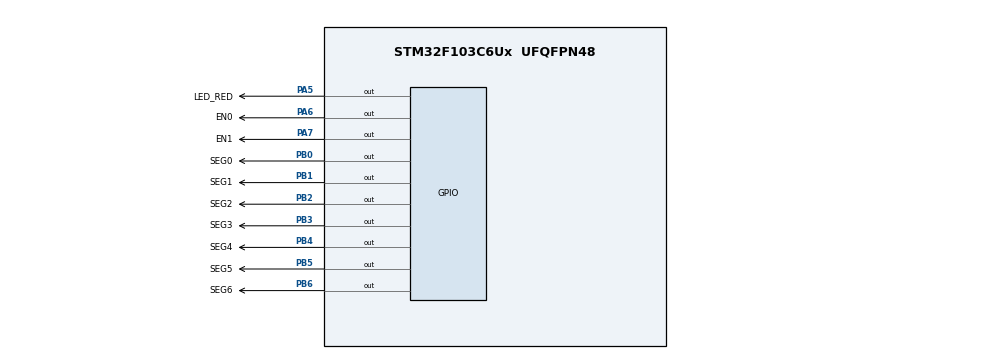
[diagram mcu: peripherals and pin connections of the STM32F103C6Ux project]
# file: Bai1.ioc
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Mcu.Family=STM32F1
Mcu.Name=STM32F103C6Ux
Mcu.Package=UFQFPN48
NVIC.PriorityGroup=NVIC_PRIORITYGROUP_4
NVIC.TIM2_IRQn=true\:0\:0\:false\:false\:true\:true\:true\:true
PA5.GPIO_Label=LED_RED
PA5.Signal=GPIO_Output
PA6.GPIO_Label=EN0
PA6.Signal=GPIO_Output
PA7.GPIO_Label=EN1
PA7.Signal=GPIO_Output
PB0.GPIO_Label=SEG0
PB0.Signal=GPIO_Output
PB1.GPIO_Label=SEG1
PB1.Signal=GPIO_Output
PB2.GPIO_Label=SEG2
PB2.Signal=GPIO_Output
PB3.GPIO_Label=SEG3
PB3.Signal=GPIO_Output
PB4.GPIO_Label=SEG4
PB4.Signal=GPIO_Output
PB5.GPIO_Label=SEG5
PB5.Signal=GPIO_Output
PB6.GPIO_Label=SEG6
PB6.Signal=GPIO_Output
ProjectManager.HeapSize=0x200
ProjectManager.StackSize=0x400
ProjectManager.TargetToolchain=STM32CubeIDE
RCC.APB1Freq_Value=8000000
RCC.APB2Freq_Value=8000000
TIM2.Period=9
TIM2.Prescaler=7999
VP_SYS_VS_ND.Mode=No_Debug
VP_TIM2_VS_ClockSourceINT.Mode=Internal
board=custom

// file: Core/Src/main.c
/* USER CODE BEGIN Header */
/**
 ******************************************************************************
 * @file           : main.c
 * @brief          : Main program body
 ******************************************************************************
 * @attention
 *
 * <h2><center>&copy; Copyright (c) 2022 STMicroelectronics.
 * All rights reserved.</center></h2>
 *
 * This software component is licensed by ST under BSD 3-Clause license,
 * the "License"; You may not use this file except in compliance with the
 * License. You may obtain a copy of the License at:
 *                        opensource.org/licenses/BSD-3-Clause
 *
 ******************************************************************************
 */
/* USER CODE END Header */
#include "main.h"

TIM_HandleTypeDef htim2;

void SystemClock_Config(void);
static void MX_GPIO_Init(void);
static void MX_TIM2_Init(void);

/* USER CODE BEGIN 0 */
void display7SEG(int num) {
	// num is the time displayed on the 7-segment led
	if (num == 0) {
		HAL_GPIO_WritePin(SEG0_GPIO_Port, SEG0_Pin, RESET);
		HAL_GPIO_WritePin(SEG1_GPIO_Port, SEG1_Pin, RESET);
		HAL_GPIO_WritePin(SEG2_GPIO_Port, SEG2_Pin, RESET);
		HAL_GPIO_WritePin(SEG3_GPIO_Port, SEG3_Pin, RESET);
		HAL_GPIO_WritePin(SEG4_GPIO_Port, SEG4_Pin, RESET);
		HAL_GPIO_WritePin(SEG5_GPIO_Port, SEG5_Pin, RESET);
		HAL_GPIO_WritePin(SEG6_GPIO_Port, SEG6_Pin, SET);
	}
	if (num == 1) {
		HAL_GPIO_WritePin(SEG0_GPIO_Port, SEG0_Pin, SET);
		HAL_GPIO_WritePin(SEG1_GPIO_Port, SEG1_Pin, RESET);
		HAL_GPIO_WritePin(SEG2_GPIO_Port, SEG2_Pin, RESET);
		HAL_GPIO_WritePin(SEG3_GPIO_Port, SEG3_Pin, SET);
		HAL_GPIO_WritePin(SEG4_GPIO_Port, SEG4_Pin, SET);
		HAL_GPIO_WritePin(SEG5_GPIO_Port, SEG5_Pin, SET);
		HAL_GPIO_WritePin(SEG6_GPIO_Port, SEG6_Pin, SET);
	}
	if (num == 2) {
		HAL_GPIO_WritePin(SEG0_GPIO_Port, SEG0_Pin, RESET);
		HAL_GPIO_WritePin(SEG1_GPIO_Port, SEG1_Pin, RESET);
		HAL_GPIO_WritePin(SEG2_GPIO_Port, SEG2_Pin, SET);
		HAL_GPIO_WritePin(SEG3_GPIO_Port, SEG3_Pin, RESET);
		HAL_GPIO_WritePin(SEG4_GPIO_Port, SEG4_Pin, RESET);
		HAL_GPIO_WritePin(SEG5_GPIO_Port, SEG5_Pin, SET);
		HAL_GPIO_WritePin(SEG6_GPIO_Port, SEG6_Pin, RESET);
	}
	if (num == 3) {
		HAL_GPIO_WritePin(SEG0_GPIO_Port, SEG0_Pin, RESET);
		HAL_GPIO_WritePin(SEG1_GPIO_Port, SEG1_Pin, RESET);
		HAL_GPIO_WritePin(SEG2_GPIO_Port, SEG2_Pin, RESET);
		HAL_GPIO_WritePin(SEG3_GPIO_Port, SEG3_Pin, RESET);
		HAL_GPIO_WritePin(SEG4_GPIO_Port, SEG4_Pin, SET);
		HAL_GPIO_WritePin(SEG5_GPIO_Port, SEG5_Pin, SET);
		HAL_GPIO_WritePin(SEG6_GPIO_Port, SEG6_Pin, RESET);
	}
	if (num == 4) {
		HAL_GPIO_WritePin(SEG0_GPIO_Port, SEG0_Pin, SET);
		HAL_GPIO_WritePin(SEG1_GPIO_Port, SEG1_Pin, RESET);
		HAL_GPIO_WritePin(SEG2_GPIO_Port, SEG2_Pin, RESET);
		HAL_GPIO_WritePin(SEG3_GPIO_Port, SEG3_Pin, SET);
		HAL_GPIO_WritePin(SEG4_GPIO_Port, SEG4_Pin, SET);
		HAL_GPIO_WritePin(SEG5_GPIO_Port, SEG5_Pin, RESET);
		HAL_GPIO_WritePin(SEG6_GPIO_Port, SEG6_Pin, RESET);
	}
	if (num == 5) {
		HAL_GPIO_WritePin(SEG0_GPIO_Port, SEG0_Pin, RESET);
		HAL_GPIO_WritePin(SEG1_GPIO_Port, SEG1_Pin, SET);
		HAL_GPIO_WritePin(SEG2_GPIO_Port, SEG2_Pin, RESET);
		HAL_GPIO_WritePin(SEG3_GPIO_Port, SEG3_Pin, RESET);
		HAL_GPIO_WritePin(SEG4_GPIO_Port, SEG4_Pin, SET);
		HAL_GPIO_WritePin(SEG5_GPIO_Port, SEG5_Pin, RESET);
		HAL_GPIO_WritePin(SEG6_GPIO_Port, SEG6_Pin, RESET);
	}
	if (num == 6) {
		HAL_GPIO_WritePin(SEG0_GPIO_Port, SEG0_Pin, RESET);
		HAL_GPIO_WritePin(SEG1_GPIO_Port, SEG1_Pin, SET);
		HAL_GPIO_WritePin(SEG2_GPIO_Port, SEG2_Pin, RESET);
		HAL_GPIO_WritePin(SEG3_GPIO_Port, SEG3_Pin, RESET);
		HAL_GPIO_WritePin(SEG4_GPIO_Port, SEG4_Pin, RESET);
		HAL_GPIO_WritePin(SEG5_GPIO_Port, SEG5_Pin, RESET);
		HAL_GPIO_WritePin(SEG6_GPIO_Port, SEG6_Pin, RESET);
	}
	if (num == 7) {
		HAL_GPIO_WritePin(SEG0_GPIO_Port, SEG0_Pin, RESET);
		HAL_GPIO_WritePin(SEG1_GPIO_Port, SEG1_Pin, RESET);
		HAL_GPIO_WritePin(SEG2_GPIO_Port, SEG2_Pin, RESET);
		HAL_GPIO_WritePin(SEG3_GPIO_Port, SEG3_Pin, SET);
		HAL_GPIO_WritePin(SEG4_GPIO_Port, SEG4_Pin, SET);
		HAL_GPIO_WritePin(SEG5_GPIO_Port, SEG5_Pin, SET);
		HAL_GPIO_WritePin(SEG6_GPIO_Port, SEG6_Pin, SET);
	}
	if (num == 8) {
		HAL_GPIO_WritePin(SEG0_GPIO_Port, SEG0_Pin, RESET);
		HAL_GPIO_WritePin(SEG1_GPIO_Port, SEG1_Pin, RESET);
		HAL_GPIO_WritePin(SEG2_GPIO_Port, SEG2_Pin, RESET);
		HAL_GPIO_WritePin(SEG3_GPIO_Port, SEG3_Pin, RESET);
		HAL_GPIO_WritePin(SEG4_GPIO_Port, SEG4_Pin, RESET);
		HAL_GPIO_WritePin(SEG5_GPIO_Port, SEG5_Pin, RESET);
		HAL_GPIO_WritePin(SEG6_GPIO_Port, SEG6_Pin, RESET);
	}
	if (num == 9) {
		HAL_GPIO_WritePin(SEG0_GPIO_Port, SEG0_Pin, RESET);
		HAL_GPIO_WritePin(SEG1_GPIO_Port, SEG1_Pin, RESET);
		HAL_GPIO_WritePin(SEG2_GPIO_Port, SEG2_Pin, RESET);
		HAL_GPIO_WritePin(SEG3_GPIO_Port, SEG3_Pin, RESET);
		HAL_GPIO_WritePin(SEG4_GPIO_Port, SEG4_Pin, SET);
		HAL_GPIO_WritePin(SEG5_GPIO_Port, SEG5_Pin, RESET);
		HAL_GPIO_WritePin(SEG6_GPIO_Port, SEG6_Pin, RESET);
	}
}
/* USER CODE END 0 */

int main(void) {

	/* MCU Configuration--------------------------------------------------------*/

	/* Reset of all peripherals, Initializes the Flash interface and the Systick. */
	HAL_Init();

	/* Configure the system clock */
	SystemClock_Config();

	/* Initialize all configured peripherals */
	MX_GPIO_Init();
	MX_TIM2_Init();
	/* USER CODE BEGIN 2 */
	HAL_TIM_Base_Start_IT(&htim2);
	/* USER CODE END 2 */

	/* Infinite loop */
	while (1) {

	}
}

void SystemClock_Config(void) {
	RCC_OscInitTypeDef RCC_OscInitStruct = { 0 };
	RCC_ClkInitTypeDef RCC_ClkInitStruct = { 0 };

	/** Initializes the RCC Oscillators according to the specified parameters
	 * in the RCC_OscInitTypeDef structure.
	 */
	RCC_OscInitStruct.OscillatorType = RCC_OSCILLATORTYPE_HSI;
	RCC_OscInitStruct.HSIState = RCC_HSI_ON;
	RCC_OscInitStruct.HSICalibrationValue = RCC_HSICALIBRATION_DEFAULT;
	RCC_OscInitStruct.PLL.PLLState = RCC_PLL_NONE;
	if (HAL_RCC_OscConfig(&RCC_OscInitStruct) != HAL_OK) {
		Error_Handler();
	}

	/** Initializes the CPU, AHB and APB buses clocks
	 */
	RCC_ClkInitStruct.ClockType = RCC_CLOCKTYPE_HCLK | RCC_CLOCKTYPE_SYSCLK
			| RCC_CLOCKTYPE_PCLK1 | RCC_CLOCKTYPE_PCLK2;
	RCC_ClkInitStruct.SYSCLKSource = RCC_SYSCLKSOURCE_HSI;
	RCC_ClkInitStruct.AHBCLKDivider = RCC_SYSCLK_DIV1;
	RCC_ClkInitStruct.APB1CLKDivider = RCC_HCLK_DIV1;
	RCC_ClkInitStruct.APB2CLKDivider = RCC_HCLK_DIV1;

	if (HAL_RCC_ClockConfig(&RCC_ClkInitStruct, FLASH_LATENCY_0) != HAL_OK) {
		Error_Handler();
	}
}

static void MX_TIM2_Init(void) {

	TIM_ClockConfigTypeDef sClockSourceConfig = { 0 };
	TIM_MasterConfigTypeDef sMasterConfig = { 0 };

	htim2.Instance = TIM2;
	htim2.Init.Prescaler = 7999;
	htim2.Init.CounterMode = TIM_COUNTERMODE_UP;
	htim2.Init.Period = 9;
	htim2.Init.ClockDivision = TIM_CLOCKDIVISION_DIV1;
	htim2.Init.AutoReloadPreload = TIM_AUTORELOAD_PRELOAD_DISABLE;
	if (HAL_TIM_Base_Init(&htim2) != HAL_OK) {
		Error_Handler();
	}
	sClockSourceConfig.ClockSource = TIM_CLOCKSOURCE_INTERNAL;
	if (HAL_TIM_ConfigClockSource(&htim2, &sClockSourceConfig) != HAL_OK) {
		Error_Handler();
	}
	sMasterConfig.MasterOutputTrigger = TIM_TRGO_RESET;
	sMasterConfig.MasterSlaveMode = TIM_MASTERSLAVEMODE_DISABLE;
	if (HAL_TIMEx_MasterConfigSynchronization(&htim2, &sMasterConfig)
			!= HAL_OK) {
		Error_Handler();
	}

}

static void MX_GPIO_Init(void) {
	GPIO_InitTypeDef GPIO_InitStruct = { 0 };

	/* GPIO Ports Clock Enable */
	__HAL_RCC_GPIOA_CLK_ENABLE();
	__HAL_RCC_GPIOB_CLK_ENABLE();

	/*Configure GPIO pin Output Level */
	HAL_GPIO_WritePin(GPIOA, LED_RED_Pin | EN0_Pin | EN1_Pin, GPIO_PIN_RESET);

	/*Configure GPIO pin Output Level */
	HAL_GPIO_WritePin(GPIOB,
	SEG0_Pin | SEG1_Pin | SEG2_Pin | SEG3_Pin | SEG4_Pin | SEG5_Pin | SEG6_Pin,
			GPIO_PIN_RESET);

	/*Configure GPIO pins : LED_RED_Pin EN0_Pin EN1_Pin */
	GPIO_InitStruct.Pin = LED_RED_Pin | EN0_Pin | EN1_Pin;
	GPIO_InitStruct.Mode = GPIO_MODE_OUTPUT_PP;
	GPIO_InitStruct.Pull = GPIO_NOPULL;
	GPIO_InitStruct.Speed = GPIO_SPEED_FREQ_LOW;
	HAL_GPIO_Init(GPIOA, &GPIO_InitStruct);

	/*Configure GPIO pins : SEG0_Pin SEG1_Pin SEG2_Pin SEG3_Pin
	 SEG4_Pin SEG5_Pin SEG6_Pin */
	GPIO_InitStruct.Pin = SEG0_Pin | SEG1_Pin | SEG2_Pin | SEG3_Pin | SEG4_Pin
			| SEG5_Pin | SEG6_Pin;
	GPIO_InitStruct.Mode = GPIO_MODE_OUTPUT_PP;
	GPIO_InitStruct.Pull = GPIO_NOPULL;
	GPIO_InitStruct.Speed = GPIO_SPEED_FREQ_LOW;
	HAL_GPIO_Init(GPIOB, &GPIO_InitStruct);

}

/* USER CODE BEGIN 4 */
int count = 100;
void HAL_TIM_PeriodElapsedCallback(TIM_HandleTypeDef *htim) {
	count--;
	if (count >= 50) {
		//display number "1" on the first seven segment
		HAL_GPIO_WritePin(EN0_GPIO_Port, EN0_Pin, RESET);
		HAL_GPIO_WritePin(EN1_GPIO_Port, EN1_Pin, SET);
		//red led is turn on
		HAL_GPIO_WritePin(LED_RED_GPIO_Port, LED_RED_Pin, RESET);
		display7SEG(1);
	}
	if (count >= 0 && count < 50) {
		//display number "2" on the second seven segment
		if (count == 0)
			count = 100;
		HAL_GPIO_WritePin(EN0_GPIO_Port, EN0_Pin, SET);
		HAL_GPIO_WritePin(EN1_GPIO_Port, EN1_Pin, RESET);
		//red led is turn off
		HAL_GPIO_WritePin(LED_RED_GPIO_Port, LED_RED_Pin, SET);
		display7SEG(2);
	}
}
/* USER CODE END 4 */

void Error_Handler(void) {
	__disable_irq();
	while (1) {
	}
}
